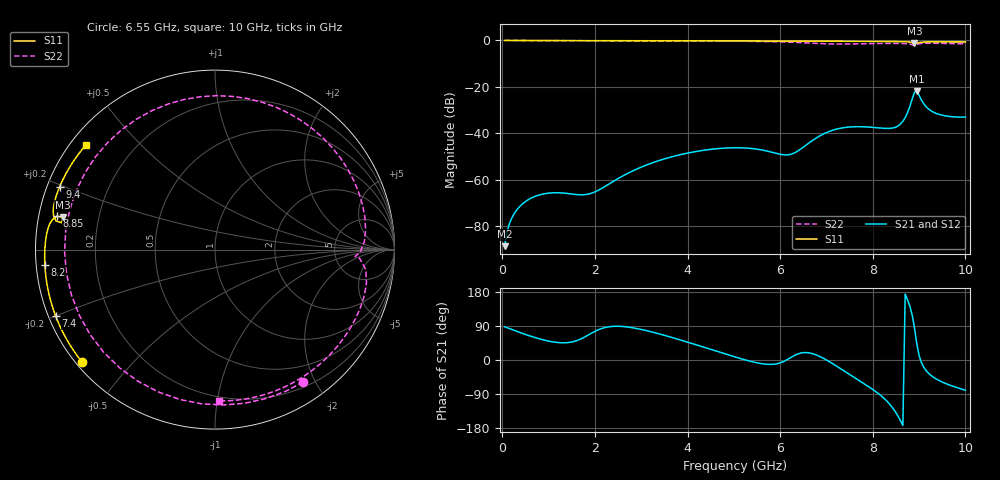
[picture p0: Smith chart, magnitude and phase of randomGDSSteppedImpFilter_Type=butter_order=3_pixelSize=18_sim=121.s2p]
! freq	dB(S11)	phase(S11)	dB(S12)	phase(S12)
!  dB(S21)	phase(S21)	dB(S22)	phase(S22)
!S-par simulation data
#  GHz  S  DB  R 50
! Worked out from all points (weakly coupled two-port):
!   200 points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, 50 MHz to 10 GHz, reference 50 ohm
!   highest |S21| = -21.86 dB at 8.95 GHz (marker M1); lowest = -88.7 dB at 50 MHz (marker M2)
!   lowest |S11| = -1.2 dB at 8.9 GHz (marker M3), VSWR 13.94, Z = 3.62 + j5.22 ohm
!   |S11| at or under -10 dB: nowhere
!   |S22| runs from -2.1 to 0.0 dB; largest |S21 - S12| = 0
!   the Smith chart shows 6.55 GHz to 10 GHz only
!   S11 on the Smith chart (normalised r, x): 6.55 GHz: 0.02, -0.36; 7.4 GHz: 0.02, -0.20; 8.2 GHz: 0.02, -0.05; 8.85 GHz: 0.05, +0.10; 9.4 GHz: 0.04, +0.20; 10 GHz: 0.04, +0.35
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0.05  -0.00 -1.2  -88.70 87.7  -88.70 87.7  -0.00 -3.6
0.7  -0.02 -16.4  -67.30 59.5  -67.30 59.5  -0.06 -48.1
1.75  -0.05 -40.5  -66.54 58.8  -66.54 58.8  -0.12 -110.9
2.6  -0.08 -59.4  -58.44 88.4  -58.44 88.4  -0.15 -153.1
3.4  -0.10 -76.5  -51.69 68.5  -51.69 68.5  -0.18 170.3
4.2  -0.13 -93.1  -47.82 39.6  -47.82 39.6  -0.23 132.7
5.05  -0.17 -110.2  -46.27 7.1  -46.27 7.1  -0.33 86.0
5.55  -0.20 -120.1  -47.02 -8.6  -47.02 -8.6  -0.43 51.2
6  -0.23 -129.0  -49.07 -7.6  -49.07 -7.6  -0.61 11.2
6.55  -0.27 -140.0  -45.26 19.6  -45.26 19.6  -1.04 -56.3
6.7  -0.28 -143.0  -43.09 16.6  -43.09 16.6  -1.19 -79.0
7.1  -0.31 -151.1  -38.93 -7.1  -38.93 -7.1  -1.50 -145.7
7.4  -0.34 -157.3  -37.52 -30.3  -37.52 -30.3  -1.52 164.8
7.8  -0.38 -165.8  -37.22 -61.6  -37.22 -61.6  -1.39 107.9
8.2  -0.43 -174.8  -37.82 -96.5  -37.82 -96.5  -1.27 61.3
8.35  -0.45 -178.2  -37.92 -114.5  -37.92 -114.5  -1.25 45.9
8.65  -0.53 174.2  -34.86 -172.8  -34.86 -172.8  -1.32 16.9
8.85  -0.91 168.1  -25.31 119.3  -25.31 119.3  -1.84 -1.0
8.9  -1.25 168.0  -22.35 85.1  -22.35 85.1  -2.14 -2.8
8.95  -1.24 170.1  -21.86 43.1  -21.86 43.1  -1.87 -3.4
9.4  -0.60 157.9  -31.68 -52.1  -31.68 -52.1  -1.24 -42.7
10  -0.67 141.0  -33.07 -79.8  -33.07 -79.8  -1.48 -88.7
